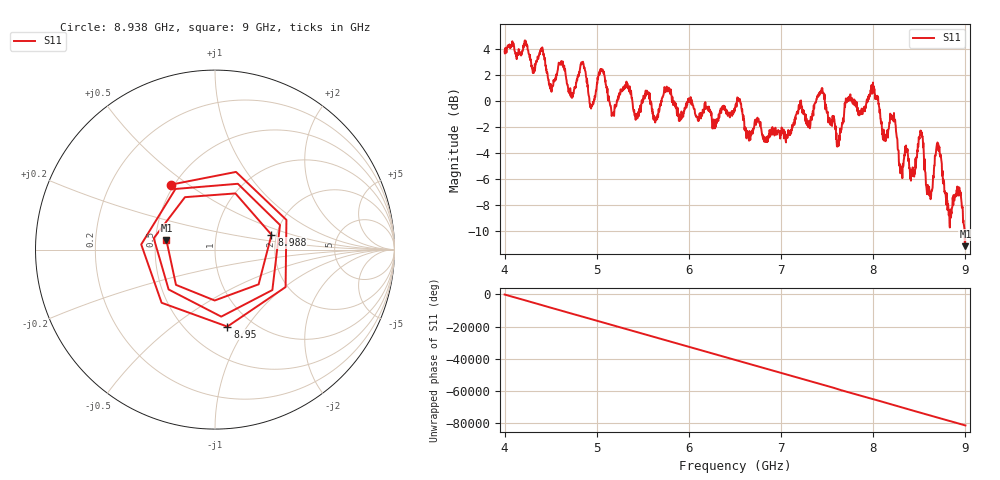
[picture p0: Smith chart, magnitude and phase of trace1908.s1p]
! Created with skrf 1.8.0 (http://scikit-rf.org).
# Hz S RI R 50.0
!freq ReS11 ImS11
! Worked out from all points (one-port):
!   1601 points, 4 GHz to 9 GHz, reference 50 ohm
!   lowest |S11| = -11.2 dB at 9 GHz (marker M1), VSWR 1.76, Z = 28.6 + j3.26 ohm
!   |S11| at or under -10 dB: 8.989846 GHz to end of sweep
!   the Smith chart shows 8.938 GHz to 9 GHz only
!   S11 on the Smith chart (normalised r, x): 8.938 GHz: 0.48, +0.43; 8.95 GHz: 0.77, -0.82; 8.988 GHz: 1.88, +0.35; 9 GHz: 0.57, +0.07
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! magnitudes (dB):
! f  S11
! 4 GHz  3.8
! 4.403 GHz  4.0
! 4.503 GHz  0.8
! 4.625 GHz  2.9
! 4.725 GHz  0.6
! 4.85 GHz  3.0
! 4.944 GHz  -0.4
! 5.047 GHz  2.3
! 5.166 GHz  -1.0
! 5.25 GHz  0.6
! 5.875 GHz  -0.8
! 6.5 GHz  -0.5
! 7.125 GHz  -1.9
! 7.438 GHz  0.7
! 7.622 GHz  -3.0
! 7.75 GHz  0.5
! 7.994 GHz  1.0
! 8.119 GHz  -3.1
! 8.209 GHz  -1.5
! 8.375 GHz  -4.1
! 8.519 GHz  -2.3
! 8.619 GHz  -7.2
! 8.706 GHz  -3.3
! 8.825 GHz  -8.7
! 8.938 GHz  -7.2
! 8.95 GHz  -7.2
! 8.988 GHz  -9.8
! 9 GHz  -11.2
